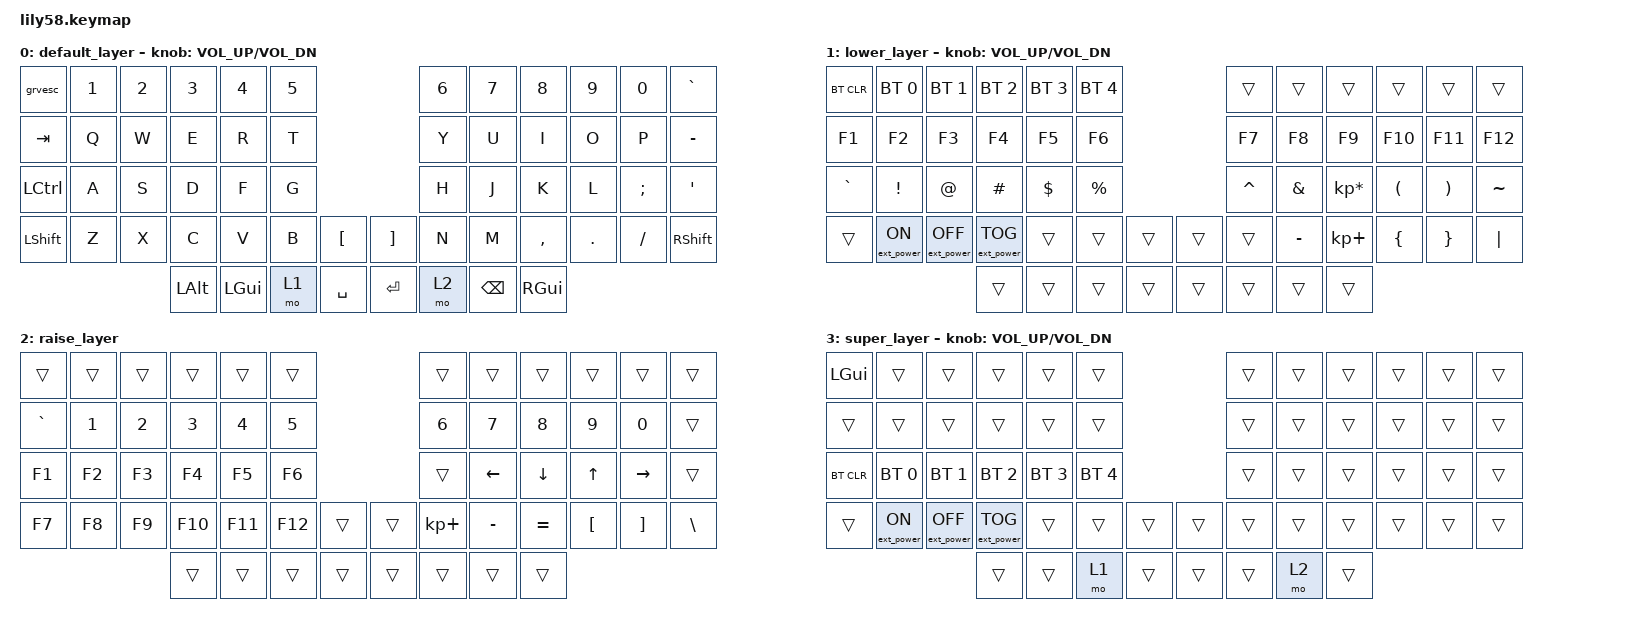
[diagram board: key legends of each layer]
/*
 * Copyright (c) 2020 The ZMK Contributors
 *
 * SPDX-License-Identifier: MIT
 */

#include <behaviors.dtsi>
#include <dt-bindings/zmk/keys.h>
#include <dt-bindings/zmk/bt.h>
#include <dt-bindings/zmk/ext_power.h>

#define DEFAULT 0
#define LOWER 1
#define RAISE 2
#define SUPER 3

/ {
		combos {
        	compatible = "zmk,combos";
        	combo_super {
            		timeout-ms = <50>;
            		key-positions = <52 56>;
            		bindings = <&mo 3>;
        	};
    	};
	
	behaviors {
		grvesc: grave_escape {
			compatible = "zmk,behavior-mod-morph";
			label = "GRAVE_ESCAPE";
			#binding-cells = <0>;
			bindings = <&kp ESC>, <&kp GRAVE>;
			mods = <(MOD_LSFT)>;
		};
	};

	keymap {
		compatible = "zmk,keymap";

		default_layer {
// ------------------------------------------------------------------------------------------------------------
// |  ESC  |  1  |  2  |  3   |  4   |  5   |                   |  6   |  7    |  8    |  9   |   0   |   `   |
// |  TAB  |  Q  |  W  |  E   |  R   |  T   |                   |  Y   |  U    |  I    |  O   |   P   |   -   |
// |  CTRL |  A  |  S  |  D   |  F   |  G   |                   |  H   |  J    |  K    |  L   |   ;   |   '   |
// | SHIFT |  Z  |  X  |  C   |  V   |  B   |   "["  |  |  "]"  |  N   |  M    |  ,    |  .   |   /   | SHIFT |
//                     | ALT  | GUI  | LOWER|  SPACE |  | ENTER | RAISE| BSPC  | GUI   |
			bindings = <
&grvesc   &kp N1 &kp N2 &kp N3   &kp N4   &kp N5                     &kp N6 &kp N7   &kp N8    &kp N9  &kp N0   &kp GRAVE
&kp TAB   &kp Q  &kp W  &kp E    &kp R    &kp T                      &kp Y  &kp U    &kp I     &kp O   &kp P    &kp MINUS
&kp LCTRL &kp A  &kp S  &kp D    &kp F    &kp G                      &kp H  &kp J    &kp K     &kp L   &kp SEMI &kp SQT
&kp LSHFT &kp Z  &kp X  &kp C    &kp V    &kp B  &kp LBKT   &kp RBKT &kp N  &kp M    &kp COMMA &kp DOT &kp FSLH &kp RSHFT
                        &kp LALT &kp LGUI &mo 1  &kp SPACE  &kp RET  &mo 2  &kp BSPC &kp RGUI
			>;

			sensor-bindings = <&inc_dec_kp C_VOL_UP C_VOL_DN>;
		};

		lower_layer {
// ------------------------------------------------------------------------------------------------------------
// | BTCLR | BT1 | BT2 |  BT3 |  BT4 |  BT5 |                   |      |       |       |      |       |       |
// |  F1   |  F2 |  F3 |  F4  |  F5  |  F6  |                   |  F7  |  F8   |  F9   |  F10 |  F11  |  F12  |
// |   `   |  !  |  @  |  #   |  $   |  %   |                   |  ^   |  &    |  *    |  (   |   )   |   ~   |
// |       |     |     |      |      |      |        |  |       |      |  _    |  +    |  {   |   }   |  "|"  |
//                     |      |      |      |        |  |       |      |       |       |
			bindings = <
&bt BT_CLR &bt BT_SEL 0     &bt BT_SEL 1      &bt BT_SEL 2      &bt BT_SEL 3 &bt BT_SEL 4                 &trans    &trans    &trans          &trans    &trans    &trans
&kp F1     &kp F2           &kp F3            &kp F4            &kp F5       &kp F6                       &kp F7    &kp F8    &kp F9          &kp F10   &kp F11   &kp F12
&kp GRAVE  &kp EXCL         &kp AT            &kp HASH          &kp DOLLAR   &kp PRCNT                    &kp CARET &kp AMPS  &kp KP_MULTIPLY &kp LPAR  &kp RPAR  &kp TILDE
&trans     &ext_power EP_ON &ext_power EP_OFF &ext_power EP_TOG &trans       &trans    &trans   &trans    &trans    &kp MINUS &kp KP_PLUS     &kp LBRC  &kp RBRC  &kp PIPE
                                              &trans            &trans       &trans    &trans   &trans    &trans    &trans    &trans
			>;

			sensor-bindings = <&inc_dec_kp C_VOL_UP C_VOL_DN>;
		};

		raise_layer {
// ------------------------------------------------------------------------------------------------------------
// |       |     |     |      |      |      |                   |      |       |       |      |       |       |
// |   `   |  1  |  2  |  3   |  4   |  5   |                   |  6   |   7   |   8   |  9   |   0   |       |
// |   F1  |  F2 |  F3 |  F4  |  F5  |  F6  |                   |      |   <-  |   ^   |  v   |  ->   |       |
// |   F7  |  F8 |  F9 |  F10 |  F11 |  F12 |        |  |       |  +   |   -   |   =   |  [   |   ]   |   \   |
//                     |      |      |      |        |  |       |      |       |       |
			bindings = <
&trans    &trans &trans &trans  &trans  &trans                       &trans      &trans    &trans    &trans   &trans    &trans
&kp GRAVE &kp N1 &kp N2 &kp N3  &kp N4  &kp N5                       &kp N6      &kp N7    &kp N8    &kp N9   &kp N0    &trans
&kp F1    &kp F2 &kp F3 &kp F4  &kp F5  &kp F6                       &trans      &kp LEFT  &kp DOWN  &kp UP   &kp RIGHT &trans
&kp F7    &kp F8 &kp F9 &kp F10 &kp F11 &kp F12   &trans   &trans    &kp KP_PLUS &kp MINUS &kp EQUAL &kp LBKT &kp RBKT  &kp BSLH
                        &trans  &trans  &trans    &trans   &trans    &trans      &trans    &trans
			>;
			};
		super_layer {
// ----------------------------------------------------------------------------------------------------------------------------------------------------------------------------------------------------------------------------------------------------------------------
// |   LGUI     |                   |                   |                   |                   |                   |                           |                   |                   |                   |                   |                   |                   |
// |            |                   |                   |                   |                   |                   |                           |                   |                   |                   |                   |                   |                   |
// |   BTCLR    |        BT1        |        BT2        |        BT3        |        BT4        |        BT5        |                           |                   |                   |                   |                   |                   |                   |
// |            |       EP_ON       |       EP_OFF      |      EP_TOG       |                   |                   |           |   |           |                   |                   |                   |                   |                   |                   |
//                                                      |                   |                   |       LOWER       |           |   |           |                   |       RAISE       |                   |
			bindings = <
&kp LGUI        &trans              &trans              &trans              &trans              &trans                                          &trans              &trans              &trans              &trans              &trans              &trans
&trans          &trans              &trans 	        &trans              &trans              &trans                                          &trans              &trans              &trans              &trans              &trans              &trans
&bt BT_CLR      &bt BT_SEL 0        &bt BT_SEL 1        &bt BT_SEL 2        &bt BT_SEL 3        &bt BT_SEL 4                                    &trans              &trans              &trans              &trans              &trans              &trans
&trans          &ext_power EP_ON    &ext_power EP_OFF   &ext_power EP_TOG   &trans              &trans              &trans          &trans      &trans              &trans              &trans              &trans              &trans              &trans
                                                        &trans              &trans              &mo 1               &trans          &trans      &trans              &mo 2               &trans
			>;

			sensor-bindings = <&inc_dec_kp C_VOL_UP C_VOL_DN>;
		};
	};
};
